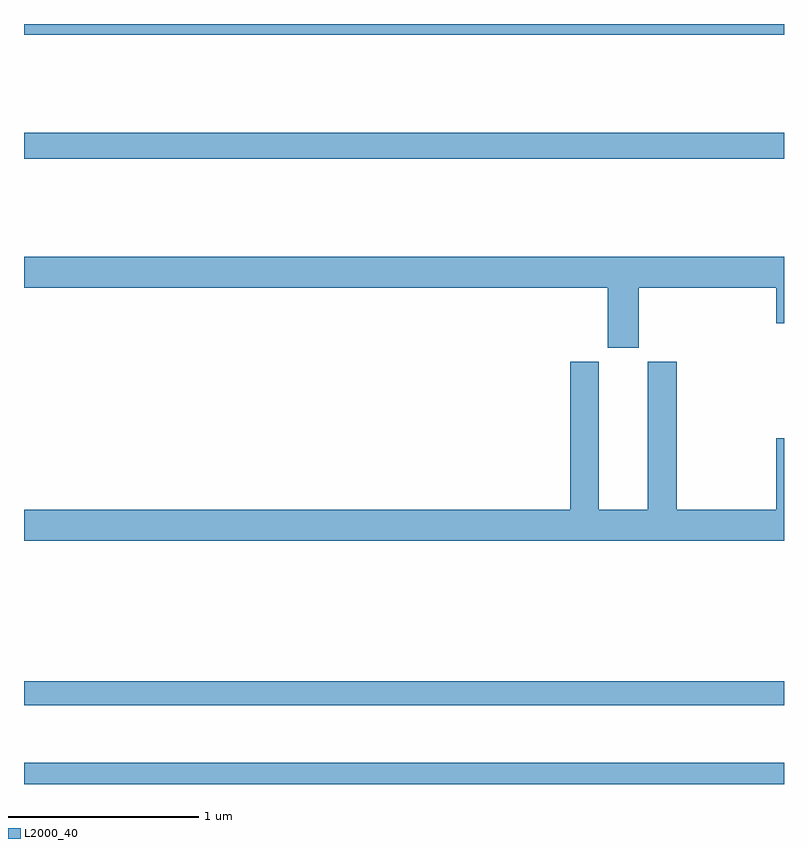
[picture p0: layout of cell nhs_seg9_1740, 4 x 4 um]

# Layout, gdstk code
import gdstk
lib = gdstk.Library(unit=1e-6, precision=1e-09)
def R(c, l, rs):  # rectangles x0, y0, x1, y1
    for r in rs: c.add(gdstk.rectangle(r[:2], r[2:], *l))
def P(c, l, *ps):  # polygons
    for p in ps: c.add(gdstk.Polygon(p, *l))
L2000_40 = (2000, 40)

nhs_seg9_1740 = lib.new_cell('nhs_seg9_1740')
R(nhs_seg9_1740, L2000_40, [(209,1168.5,213,1168.612), (209,1168.914,213,1169.042), (209,1171.792,213,1171.928), (209,1172.444,213,1172.5)])
P(nhs_seg9_1740, L2000_40, [(212.236,1171.112),(212.96,1171.112),(212.96,1170.924),(213,1170.924),(213,1171.276),(209,1171.276),(209,1171.112),(212.072,1171.112),(212.072,1170.795),(212.236,1170.795)],
  [(212.282,1170.723),(212.282,1169.944),(212.026,1169.944),(212.026,1170.723),(211.874,1170.723),(211.874,1169.944),(209,1169.944),(209,1169.78),(213,1169.78),(213,1170.319),(212.96,1170.319),(212.96,1169.944),(212.435,1169.944),(212.435,1170.723)])

lib.write_gds('nhs_seg9_1740.gds')
